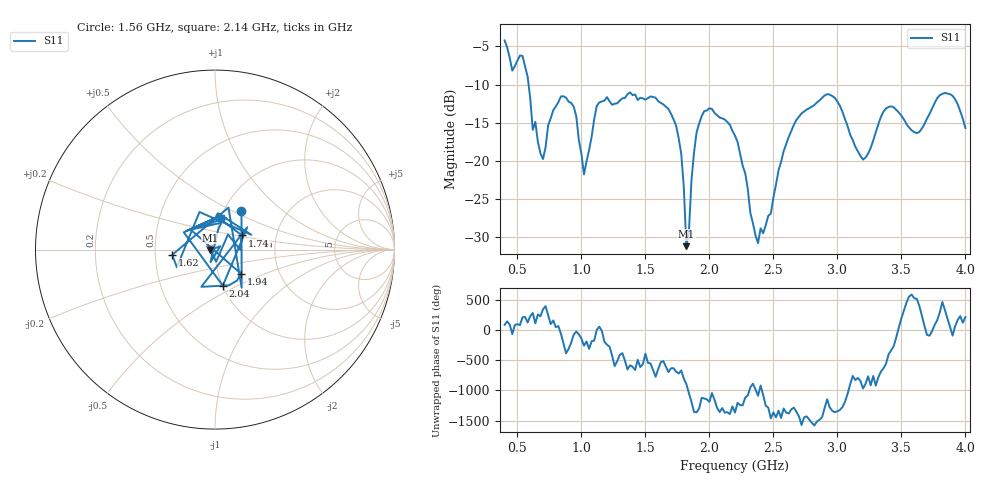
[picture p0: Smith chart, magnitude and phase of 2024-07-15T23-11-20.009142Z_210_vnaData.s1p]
!Created with skrf (http://scikit-rf.org).
# Hz S RI R 50.0
!freq ReS11 ImS11
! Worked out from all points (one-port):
!   181 points, 400 MHz to 4 GHz, reference 50 ohm
!   lowest |S11| = -31.2 dB at 1.82 GHz (marker M1), VSWR 1.06, Z = 47.3 - j0.176 ohm
!   |S11| at or under -10 dB: 587.3 MHz to end of sweep
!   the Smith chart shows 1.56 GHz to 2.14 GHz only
!   S11 on the Smith chart (normalised r, x): 1.56 GHz: 1.20, +0.56; 1.62 GHz: 0.61, -0.04; 1.74 GHz: 1.33, +0.22; 1.94 GHz: 1.28, -0.36; 2.04 GHz: 1.00, -0.42; 2.14 GHz: 1.01, +0.37
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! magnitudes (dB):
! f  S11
! 400 MHz  -4.2
! 460 MHz  -8.2
! 540 MHz  -6.3
! 700 MHz  -19.8
! 860 MHz  -11.5
! 940 MHz  -12.9
! 1.02 GHz  -21.8
! 1.12 GHz  -12.8
! 1.3 GHz  -12.1
! 1.56 GHz  -11.6
! 1.62 GHz  -12.4
! 1.74 GHz  -15.4
! 1.76 GHz  -17.1
! 1.82 GHz  -31.2
! 1.88 GHz  -18.9
! 1.94 GHz  -14.1
! 2.04 GHz  -13.7
! 2.14 GHz  -14.9
! 2.2 GHz  -16.7
! 2.38 GHz  -30.8
! 2.66 GHz  -15.3
! 2.92 GHz  -11.3
! 3.1 GHz  -16.6
! 3.2 GHz  -19.8
! 3.38 GHz  -13.1
! 3.56 GHz  -15.6
! 3.84 GHz  -11.1
! 4 GHz  -15.7
